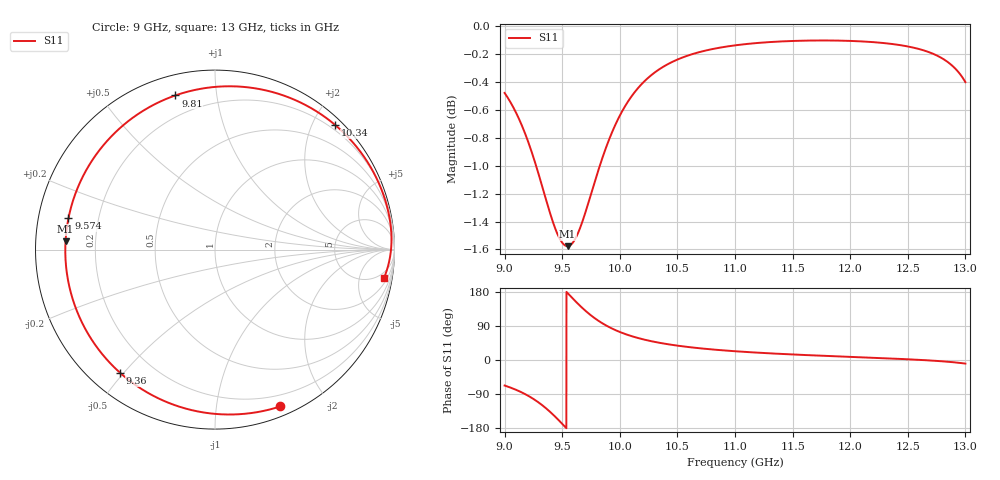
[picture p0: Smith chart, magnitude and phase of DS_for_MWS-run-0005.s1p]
! TOUCHSTONE file generated by CST DESIGN STUDIO
! Date and time: Tue Feb  4 18:22:13 2025
! Project name: C:\Work\MatlabApps\UnitCellOptimizationMatlab\CST\unitcell.cst
! Tree item: Tasks\Sweep1\SPara1\S-Parameters
! Header version: 2024
! Port assignment regex: !\s*Touchstone port\s*([0-9]+)\s*=\s*(CST MWS port|CST DES external port|CST DES block port)\s*(.+)\s* \(\"(.*)\"\)(\s*mode\s*([0-9]+))?.*
! Touchstone port assignment:
! Touchstone port 1 = CST DES external port 1 ("")
# GHz S MA R 50
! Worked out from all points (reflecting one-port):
!   4001 points, 9 GHz to 13 GHz, reference 50 ohm
!   lowest |S11| = -1.6 dB at 9.546 GHz (marker M1), VSWR 11.05, Z = 4.53 + j1.37 ohm
!   phase of S11 starts at -67 deg and turns -302 deg over the sweep
!   S11 on the Smith chart (normalised r, x): 9 GHz: 0.09, -1.50; 9.36 GHz: 0.09, -0.49; 9.574 GHz: 0.09, +0.11; 9.81 GHz: 0.10, +0.77; 10.34 GHz: 0.12, +2.36; 13 GHz: 3, -11
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9  0.9465 -67.4
9.101  0.9308 -78.9
9.212  0.9072 -95.7
9.29  0.8865 -111.0
9.36  0.8665 -127.5
9.398  0.8562 -137.7
9.437  0.8468 -148.9
9.5  0.8364 -168.4
9.546  0.834 176.8
9.574  0.8349 167.9
9.629  0.8416 150.7
9.694  0.8557 132.0
9.75  0.8706 117.7
9.81  0.887 104.4
9.895  0.9081 88.8
10  0.9289 74.0
10.074  0.9402 65.7
10.153  0.9497 58.4
10.239  0.9578 51.9
10.335  0.9646 45.9
10.5  0.9729 37.9
10.721  0.9796 30.1
11  0.9844 23.1
11.5  0.9879 14.6
12  0.988 8.3
12.5  0.9835 1.9
12.786  0.9745 -3.1
13  0.955 -9.5
